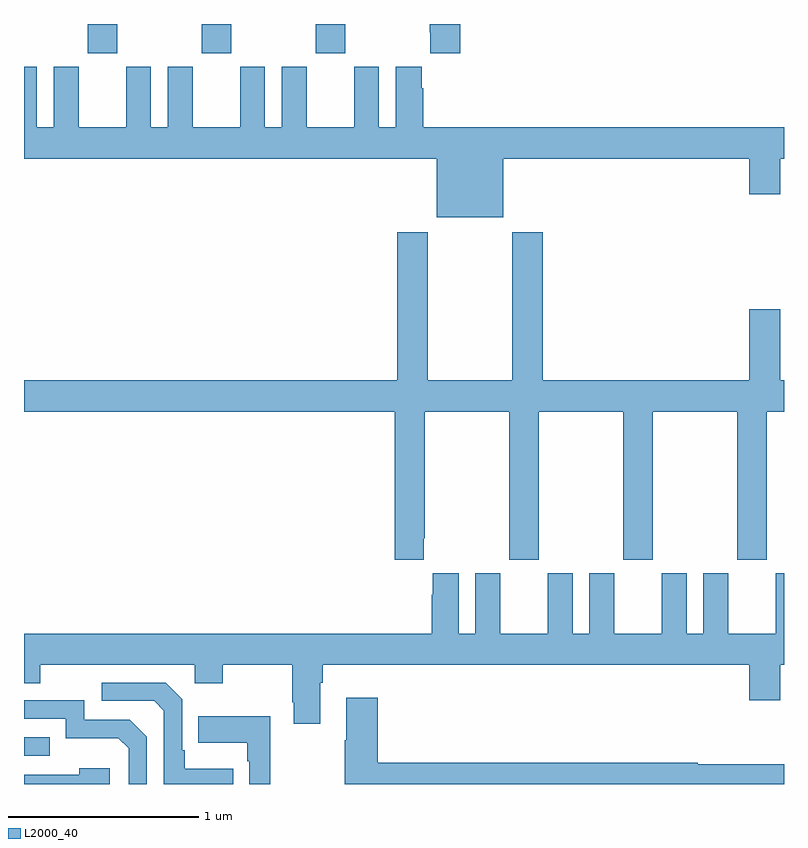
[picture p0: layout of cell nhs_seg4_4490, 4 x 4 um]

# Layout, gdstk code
import gdstk
lib = gdstk.Library(unit=1e-6, precision=1e-09)
def R(c, l, rs):  # rectangles x0, y0, x1, y1
    for r in rs: c.add(gdstk.rectangle(r[:2], r[2:], *l))
def A(c, l, x, y, w, h, nx, ny, dx, dy):  # array of equal rectangles
    R(c, l, [(x+i*dx, y+j*dy, x+i*dx+w, y+j*dy+h) for i in range(nx) for j in range(ny)])
def P(c, l, *ps):  # polygons
    for p in ps: c.add(gdstk.Polygon(p, *l))
L2000_40 = (2000, 40)

nhs_seg4_4490 = lib.new_cell('nhs_seg4_4490')
A(nhs_seg4_4490, L2000_40, 353.335, 758.745, 0.155, 0.155, 3, 1, 0.6, 0)
R(nhs_seg4_4490, L2000_40, [(353,755.049,353.135,755.145)])
P(nhs_seg4_4490, L2000_40, [(355.295,758.9),(355.135,758.9),(355.135,758.857),(355.139,758.857),(355.139,758.745),(355.295,758.745)],
  [(355.522,758.192),(356.816,758.192),(356.816,758.004),(356.98,758.004),(356.98,758.192),(357,758.192),(357,758.356),(355.1,758.356),(355.1,758.561),(355.093,758.561),(355.093,758.674),(354.956,758.674),(354.956,758.356),(354.868,758.356),(354.868,758.674),(354.737,758.674),(354.737,758.356),(354.487,758.356),(354.487,758.674),(354.356,758.674),(354.356,758.356),(354.268,758.356),(354.268,758.674),(354.137,758.674),(354.137,758.356),(353.887,758.356),(353.887,758.674),(353.756,758.674),(353.756,758.356),(353.668,758.356),(353.668,758.674),(353.537,758.674),(353.537,758.356),(353.287,758.356),(353.287,758.674),(353.156,758.674),(353.156,758.356),(353.068,758.356),(353.068,758.674),(353,758.674),(353,758.192),(355.172,758.192),(355.172,757.883),(355.522,757.883)],
  [(354.965,757.024),(353,757.024),(353,756.86),(354.95,756.86),(354.95,756.081),(355.105,756.081),(355.105,756.193),(355.11,756.193),(355.11,756.86),(355.555,756.86),(355.555,756.081),(355.71,756.081),(355.71,756.86),(356.155,756.86),(356.155,756.081),(356.31,756.081),(356.31,756.86),(356.755,756.86),(356.755,756.081),(356.91,756.081),(356.91,756.86),(357,756.86),(357,757.024),(356.98,757.024),(356.98,757.399),(356.816,757.399),(356.816,757.024),(355.73,757.024),(355.73,757.804),(355.57,757.804),(355.57,757.024),(355.125,757.024),(355.125,757.804),(354.965,757.804)],
  [(354.559,755.432),(354.572,755.432),(354.572,755.528),(356.816,755.528),(356.816,755.34),(356.98,755.34),(356.98,755.528),(357,755.528),(357,756.01),(356.957,756.01),(356.957,755.692),(356.707,755.692),(356.707,756.01),(356.576,756.01),(356.576,755.692),(356.488,755.692),(356.488,756.01),(356.357,756.01),(356.357,755.692),(356.107,755.692),(356.107,756.01),(355.976,756.01),(355.976,755.692),(355.888,755.692),(355.888,756.01),(355.757,756.01),(355.757,755.692),(355.507,755.692),(355.507,756.01),(355.376,756.01),(355.376,755.692),(355.288,755.692),(355.288,756.01),(355.151,756.01),(355.151,755.897),(355.145,755.897),(355.145,755.692),(353,755.692),(353,755.429),(353.085,755.429),(353.085,755.528),(353.898,755.528),(353.898,755.429),(354.045,755.429),(354.045,755.528),(354.412,755.528),(354.412,755.329),(354.419,755.329),(354.419,755.217),(354.559,755.217)],
  [(354.101,754.981),(353.845,754.981),(353.845,755.077),(353.832,755.077),(353.832,755.346),(353.745,755.433),(353.409,755.433),(353.409,755.337),(353.685,755.337),(353.736,755.286),(353.736,754.9),(354.101,754.9)],
  [(357,755.005),(356.546,755.005),(356.546,755.012),(354.863,755.012),(354.863,755.353),(354.695,755.353),(354.695,755.129),(354.688,755.129),(354.688,754.9),(357,754.9)],
  [(353.646,755.148),(353.556,755.238),(353.316,755.238),(353.316,755.34),(353,755.34),(353,755.244),(353.22,755.244),(353.22,755.141),(353.497,755.141),(353.55,755.088),(353.55,754.9),(353.646,754.9)],
  [(354.295,755.257),(353.917,755.257),(353.917,755.117),(354.174,755.117),(354.174,755.021),(354.186,755.021),(354.186,754.9),(354.295,754.9)],
  [(353.452,754.984),(353.291,754.984),(353.291,754.95),(353,754.95),(353,754.9),(353.452,754.9)])

lib.write_gds('nhs_seg4_4490.gds')
